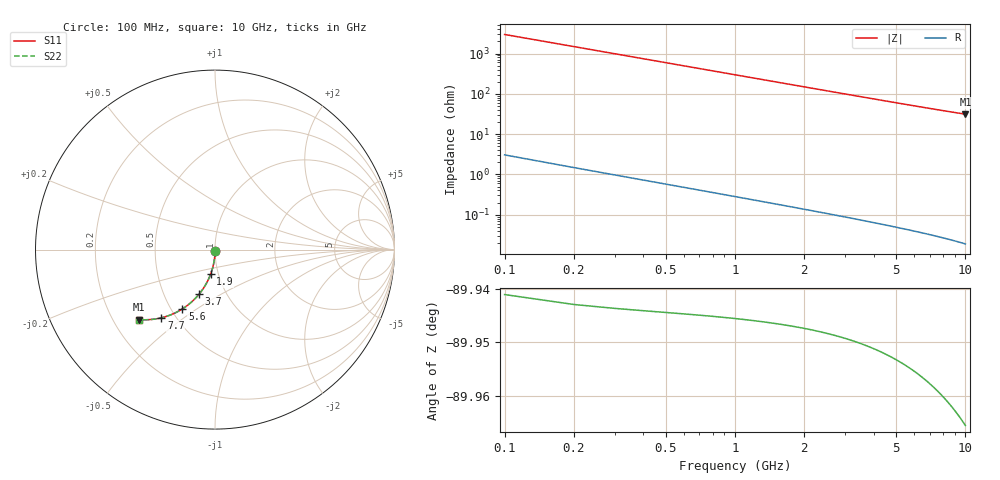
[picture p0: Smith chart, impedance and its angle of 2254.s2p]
# Hz S RI R 50.00
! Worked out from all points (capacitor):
!   100 points, 100 MHz to 10 GHz, reference 50 ohm
!   read as one part in shunt: C = 536 fF near 100 MHz
!   lowest |Z| = 31.2 ohm at 10 GHz (marker M1)
!   S11 on the Smith chart (normalised r, x): 100 MHz: 1.00, -0.01; 1.9 GHz: 0.92, -0.26; 3.7 GHz: 0.75, -0.40; 5.6 GHz: 0.57, -0.44; 7.7 GHz: 0.42, -0.41; 10 GHz: 0.31, -0.36
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1e8  0.000377 -0.0074  0.9995 -0.00945  0.9995 -0.00945  0.000377 -0.0074
2e8  0.000162 -0.0148  0.9992 -0.0189  0.9992 -0.0189  0.000162 -0.0148
3e8  -0.000193 -0.0222  0.9989 -0.0283  0.9989 -0.0283  -0.000193 -0.0222
4e8  -0.000688 -0.0295  0.9984 -0.0378  0.9984 -0.0378  -0.000688 -0.0295
5e8  -0.00132 -0.0369  0.9977 -0.0472  0.9977 -0.0472  -0.00132 -0.0369
6e8  -0.00209 -0.0443  0.9969 -0.0566  0.9969 -0.0566  -0.00209 -0.0443
8e8  -0.00405 -0.0589  0.9949 -0.0753  0.9949 -0.0753  -0.00405 -0.0589
1.1e9  -0.00801 -0.0806  0.9908 -0.1032  0.9908 -0.1032  -0.00801 -0.0806
1.4e9  -0.0132 -0.102  0.9855 -0.1308  0.9855 -0.1308  -0.0132 -0.102
1.8e9  -0.0219 -0.1299  0.9765 -0.1669  0.9765 -0.1669  -0.0219 -0.1299
1.9e9  -0.0243 -0.1367  0.9739 -0.1758  0.9739 -0.1758  -0.0243 -0.1367
2.2e9  -0.0325 -0.1569  0.9655 -0.2021  0.9655 -0.2021  -0.0325 -0.1569
2.6e9  -0.045 -0.1828  0.9526 -0.2362  0.9526 -0.2362  -0.045 -0.1828
3.4e9  -0.075 -0.2307  0.9215 -0.3007  0.9215 -0.3007  -0.075 -0.2307
3.7e9  -0.0878 -0.2472  0.9083 -0.3234  0.9083 -0.3234  -0.0878 -0.2472
4.4e9  -0.1202 -0.2823  0.8746 -0.3731  0.8746 -0.3731  -0.1202 -0.2823
5.1e9  -0.1556 -0.3124  0.8378 -0.4178  0.8378 -0.4178  -0.1556 -0.3124
5.6e9  -0.1822 -0.3307  0.81 -0.4467  0.81 -0.4467  -0.1822 -0.3307
6.7e9  -0.243 -0.3619  0.7462 -0.5012  0.7462 -0.5012  -0.243 -0.3619
7.7e9  -0.299 -0.38  0.6869 -0.5406  0.6869 -0.5406  -0.299 -0.38
8.4e9  -0.3377 -0.3873  0.6456 -0.563  0.6456 -0.563  -0.3377 -0.3873
1e10  -0.4218 -0.3897  0.5546 -0.6003  0.5546 -0.6003  -0.4218 -0.3897
